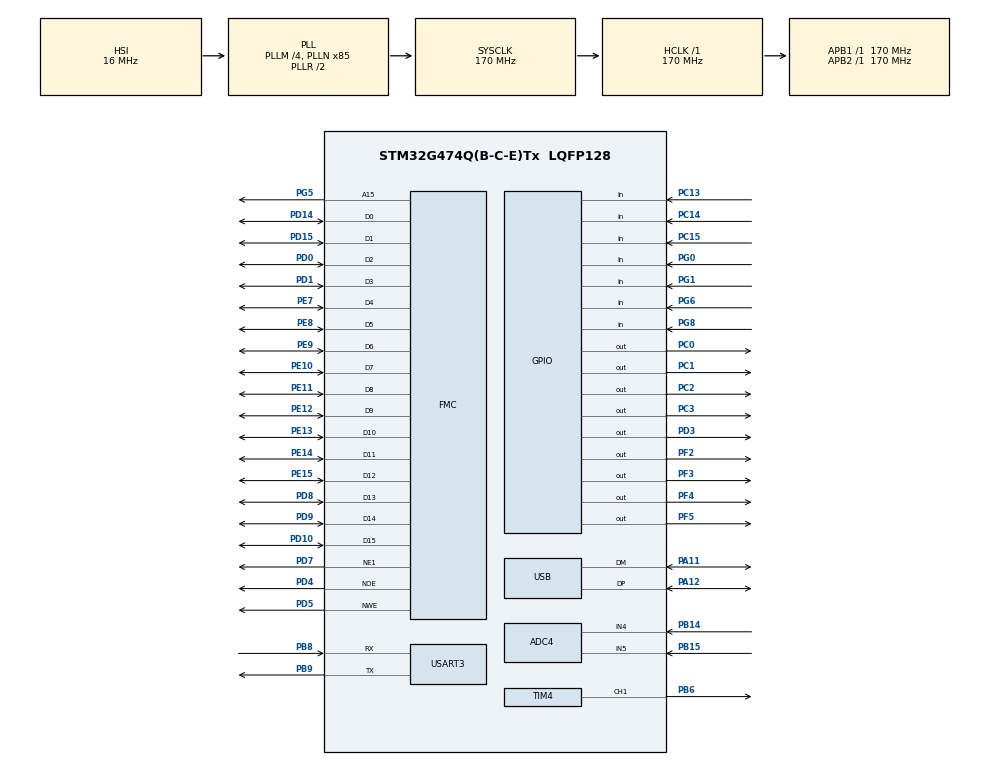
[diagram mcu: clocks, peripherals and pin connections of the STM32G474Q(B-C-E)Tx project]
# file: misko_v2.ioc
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ADC4.Channel-1\#ChannelRegularConversion=ADC_CHANNEL_4
ADC4.Channel-2\#ChannelRegularConversion=ADC_CHANNEL_5
ADC4.DMAContinuousRequests=ENABLE
ADC4.ExternalTrigConv=ADC_EXTERNALTRIG_T1_TRGO
ADC4.NbrOfConversion=2
ADC4.NbrOfConversionFlag=1
ADC4.OffsetNumber-1\#ChannelRegularConversion=ADC_OFFSET_NONE
ADC4.OffsetNumber-2\#ChannelRegularConversion=ADC_OFFSET_NONE
ADC4.Rank-1\#ChannelRegularConversion=1
ADC4.Rank-2\#ChannelRegularConversion=2
ADC4.SamplingTime-1\#ChannelRegularConversion=ADC_SAMPLETIME_640CYCLES_5
ADC4.SamplingTime-2\#ChannelRegularConversion=ADC_SAMPLETIME_640CYCLES_5
Dma.ADC4.0.Direction=DMA_PERIPH_TO_MEMORY
Dma.ADC4.0.EventEnable=DISABLE
Dma.ADC4.0.Instance=DMA1_Channel1
Dma.ADC4.0.MemDataAlignment=DMA_MDATAALIGN_HALFWORD
Dma.ADC4.0.MemInc=DMA_MINC_ENABLE
Dma.ADC4.0.Mode=DMA_CIRCULAR
Dma.ADC4.0.PeriphDataAlignment=DMA_PDATAALIGN_HALFWORD
Dma.ADC4.0.PeriphInc=DMA_PINC_DISABLE
Dma.ADC4.0.Polarity=HAL_DMAMUX_REQ_GEN_RISING
Dma.ADC4.0.Priority=DMA_PRIORITY_LOW
Dma.ADC4.0.RequestNumber=1
Dma.ADC4.0.SignalID=NONE
Dma.ADC4.0.SyncEnable=DISABLE
Dma.ADC4.0.SyncPolarity=HAL_DMAMUX_SYNC_NO_EVENT
Dma.ADC4.0.SyncRequestNumber=1
Dma.ADC4.0.SyncSignalID=NONE
Dma.Request0=ADC4
FMC.AddressSetupTime1=1
FMC.BusTurnAroundDuration1=1
FMC.DataHoldTime1=1
FMC.DataSetupTime1=1
Mcu.Family=STM32G4
Mcu.Name=STM32G474Q(B-C-E)Tx
Mcu.Package=LQFP128
NVIC.DMA1_Channel1_IRQn=true\:0\:0\:false\:false\:true\:false\:true\:true
NVIC.PriorityGroup=NVIC_PRIORITYGROUP_4
NVIC.TIM6_DAC_IRQn=true\:14\:0\:true\:false\:true\:true\:true\:true
NVIC.USART3_IRQn=true\:0\:0\:false\:false\:true\:true\:true\:true
PA11.Mode=Device
PA11.Signal=USB_DM
PA12.Mode=Device
PA12.Signal=USB_DP
PB14.GPIO_PuPd=GPIO_NOPULL
PB14.Signal=SharedAnalog_PB14
PB15.Signal=SharedAnalog_PB15
PB6.Signal=S_TIM4_CH1
PB8-BOOT0.Mode=Asynchronous
PB8-BOOT0.Signal=USART3_RX
PB9.Mode=Asynchronous
PB9.Signal=USART3_TX
PC0.GPIO_PuPd=GPIO_NOPULL
PC0.Signal=GPIO_Output
PC1.Signal=GPIO_Output
PC13.GPIO_PuPd=GPIO_PULLUP
PC13.Signal=GPIO_Input
PC14-OSC32_IN.GPIO_PuPd=GPIO_PULLUP
PC14-OSC32_IN.Signal=GPIO_Input
PC15-OSC32_OUT.GPIO_PuPd=GPIO_PULLUP
PC15-OSC32_OUT.Signal=GPIO_Input
PC2.Signal=GPIO_Output
PC3.Signal=GPIO_Output
PD0.Signal=FMC_D2_DA2
PD1.Signal=FMC_D3_DA3
PD10.Signal=FMC_D15_DA15
PD14.Signal=FMC_D0_DA0
PD15.Signal=FMC_D1_DA1
PD3.Signal=GPIO_Output
PD4.Signal=FMC_NOE
PD5.Signal=FMC_NWE
PD7.Mode=NorPsramChipSelect1_1
PD7.Signal=FMC_NE1
PD8.Signal=FMC_D13_DA13
PD9.Signal=FMC_D14_DA14
PE10.Signal=FMC_D7_DA7
PE11.Signal=FMC_D8_DA8
PE12.Signal=FMC_D9_DA9
PE13.Signal=FMC_D10_DA10
PE14.Signal=FMC_D11_DA11
PE15.Signal=FMC_D12_DA12
PE7.Signal=FMC_D4_DA4
PE8.Signal=FMC_D5_DA5
PE9.Signal=FMC_D6_DA6
PF0-OSC_IN.Mode=HSE-External-Clock-Source
PF0-OSC_IN.Signal=RCC_OSC_IN
PF2.Signal=GPIO_Output
PF3.Signal=GPIO_Output
PF4.Signal=GPIO_Output
PF5.Signal=GPIO_Output
PG0.GPIO_PuPd=GPIO_PULLDOWN
PG0.Signal=GPIO_Input
PG1.GPIO_PuPd=GPIO_PULLUP
PG1.Signal=GPIO_Input
PG5.Signal=FMC_A15
PG6.GPIO_PuPd=GPIO_PULLUP
PG6.Signal=GPIO_Input
PG8.GPIO_PuPd=GPIO_PULLUP
PG8.Signal=GPIO_Input
ProjectManager.HeapSize=0x800
ProjectManager.StackSize=0x800
ProjectManager.TargetToolchain=STM32CubeIDE
RCC.ADC12Freq_Value=170000000
RCC.ADC345Freq_Value=170000000
RCC.AHBFreq_Value=170000000
RCC.APB1Freq_Value=170000000
RCC.APB1TimFreq_Value=170000000
RCC.APB2Freq_Value=170000000
RCC.APB2TimFreq_Value=170000000
RCC.CK48CLockSelection=RCC_USBCLKSOURCE_HSI48
RCC.CortexFreq_Value=170000000
RCC.EXTERNAL_CLOCK_VALUE=12288000
RCC.HCLKFreq_Value=170000000
RCC.HSE_VALUE=8000000
RCC.HSI48_VALUE=48000000
RCC.HSI_VALUE=16000000
RCC.LSE_VALUE=32768
RCC.PLLM=RCC_PLLM_DIV4
RCC.PLLN=85
RCC.PLLP=RCC_PLLP_DIV8
RCC.PLLQ=RCC_PLLQ_DIV8
RCC.SYSCLKFreq_VALUE=170000000
RCC.SYSCLKSource=RCC_SYSCLKSOURCE_PLLCLK
RCC.USBFreq_Value=48000000
RCC.VCOOutputFreq_Value=340000000
SH.FMC_A15.0=FMC_A15,A15_1
SH.FMC_D0_DA0.0=FMC_D0,16b-d1
SH.FMC_D10_DA10.0=FMC_D10,16b-d1
SH.FMC_D11_DA11.0=FMC_D11,16b-d1
SH.FMC_D12_DA12.0=FMC_D12,16b-d1
SH.FMC_D13_DA13.0=FMC_D13,16b-d1
SH.FMC_D14_DA14.0=FMC_D14,16b-d1
SH.FMC_D15_DA15.0=FMC_D15,16b-d1
SH.FMC_D1_DA1.0=FMC_D1,16b-d1
SH.FMC_D2_DA2.0=FMC_D2,16b-d1
SH.FMC_D3_DA3.0=FMC_D3,16b-d1
SH.FMC_D4_DA4.0=FMC_D4,16b-d1
SH.FMC_D5_DA5.0=FMC_D5,16b-d1
SH.FMC_D6_DA6.0=FMC_D6,16b-d1
SH.FMC_D7_DA7.0=FMC_D7,16b-d1
SH.FMC_D8_DA8.0=FMC_D8,16b-d1
SH.FMC_D9_DA9.0=FMC_D9,16b-d1
SH.FMC_NOE.0=FMC_NOE,Lcd1
SH.FMC_NWE.0=FMC_NWE,Lcd1
SH.S_TIM4_CH1.0=TIM4_CH1,PWM Generation1 CH1
SH.SharedAnalog_PB14.0=GPIO_Analog
SH.SharedAnalog_PB14.1=ADC4_IN4,IN4-Single-Ended
SH.SharedAnalog_PB15.0=GPIO_Analog
SH.SharedAnalog_PB15.1=ADC4_IN5,IN5-Single-Ended
STMicroelectronics.X-CUBE-AI.8.0.1.ActivationBufferSizeList=988
STMicroelectronics.X-CUBE-AI.8.0.1.ActivationBuffers=pool0
STMicroelectronics.X-CUBE-AI.8.0.1.ActivationNames=pool0
STMicroelectronics.X-CUBE-AI.8.0.1.ActivationSizes=AI_PYTHON_MODEL_DATA_ACTIVATION_1_SIZE
STMicroelectronics.X-CUBE-AI.8.0.1.HeapSize=0x800
STMicroelectronics.X-CUBE-AI.8.0.1.InternalRamActivationBufferMaxSize=AI_PYTHON_MODEL_DATA_ACTIVATIONS_SIZE
STMicroelectronics.X-CUBE-AI.8.0.1.LatestDirectoryUsed-92c7ae736773bd8f670573e8fd5fc301e7f3e9709f1d78bfd47aae4a3a34602b=D\:\\Dokumenti\\Python\\Connect4_AI\\Connect4_AI
STMicroelectronics.X-CUBE-AI.8.0.1.MaximumNumberOfInputLayer=1
STMicroelectronics.X-CUBE-AI.8.0.1.MaximumNumberOfOutputLayer=1
STMicroelectronics.X-CUBE-AI.8.0.1.MaximumSizeOfInputLayer=1
STMicroelectronics.X-CUBE-AI.8.0.1.MaximumSizeOfOutputLayer=1
STMicroelectronics.X-CUBE-AI.8.0.1.ModelActualCompression-92c7ae736773bd8f670573e8fd5fc301e7f3e9709f1d78bfd47aae4a3a34602b=0.0
STMicroelectronics.X-CUBE-AI.8.0.1.ModelCompression-92c7ae736773bd8f670573e8fd5fc301e7f3e9709f1d78bfd47aae4a3a34602b=None
STMicroelectronics.X-CUBE-AI.8.0.1.ModelFlashOccupation-92c7ae736773bd8f670573e8fd5fc301e7f3e9709f1d78bfd47aae4a3a34602b=133148
STMicroelectronics.X-CUBE-AI.8.0.1.ModelHashList=92c7ae736773bd8f670573e8fd5fc301e7f3e9709f1d78bfd47aae4a3a34602b
STMicroelectronics.X-CUBE-AI.8.0.1.ModelKind-92c7ae736773bd8f670573e8fd5fc301e7f3e9709f1d78bfd47aae4a3a34602b=ONNX
STMicroelectronics.X-CUBE-AI.8.0.1.ModelMacc-92c7ae736773bd8f670573e8fd5fc301e7f3e9709f1d78bfd47aae4a3a34602b=25807
STMicroelectronics.X-CUBE-AI.8.0.1.ModelName-92c7ae736773bd8f670573e8fd5fc301e7f3e9709f1d78bfd47aae4a3a34602b=python_model
STMicroelectronics.X-CUBE-AI.8.0.1.ModelNameList=python_model
STMicroelectronics.X-CUBE-AI.8.0.1.ModelRamOccupation-92c7ae736773bd8f670573e8fd5fc301e7f3e9709f1d78bfd47aae4a3a34602b=988
STMicroelectronics.X-CUBE-AI.8.0.1.ModelStructureFile-92c7ae736773bd8f670573e8fd5fc301e7f3e9709f1d78bfd47aae4a3a34602b=D\:\\Dokumenti\\Python\\Connect4_AI\\Connect4_AI\\ai_model.onnx
STMicroelectronics.X-CUBE-AI.8.0.1.ModelType-92c7ae736773bd8f670573e8fd5fc301e7f3e9709f1d78bfd47aae4a3a34602b=Saved model
STMicroelectronics.X-CUBE-AI.8.0.1.ReadyForCodeGeneration=true
STMicroelectronics.X-CUBE-AI.8.0.1.StackSize=0x800
STMicroelectronics.X-CUBE-AI.8.0.1.WorkingBufferStartAddrList=0xFFFFFFFF
STMicroelectronics.X-CUBE-AI.8.0.1.XAaCUBEAaAICcArtificialOoIntelligenceJjCore=true
STMicroelectronics.X-CUBE-AI.8.0.1.copyWeightToRam=false
STMicroelectronics.X-CUBE-AI.8.0.1.customLayerConfigEnabled=false
STMicroelectronics.X-CUBE-AI.8.0.1.useInputAllocation=true
STMicroelectronics.X-CUBE-AI.8.0.1.useOutputAllocation=true
TIM1.PeriodNoDither=65534
TIM1.Prescaler=20
TIM1.TIM_MasterOutputTrigger=TIM_TRGO_UPDATE
TIM4.Channel-PWM\ Generation1\ CH1=TIM_CHANNEL_1
TIM4.PeriodNoDither=101
TIM4.Prescaler=14399
TIM6.PeriodNoDither=50
TIM6.Prescaler=143
USART3.OverrunDisableParam=ADVFEATURE_OVERRUN_DISABLE
USART3.VirtualMode-Asynchronous=VM_ASYNC
VP_CRC_VS_CRC.Mode=CRC_Activate
VP_STMicroelectronics.X-CUBE-AI_VS_ArtificialOoIntelligenceJjXAaCUBEAaAI_8.0.1.Mode=ArtificialOoIntelligenceJjXAaCUBEAaAI
VP_TIM1_VS_ClockSourceINT.Mode=Internal
VP_TIM4_VS_ClockSourceINT.Mode=Internal
VP_TIM6_VS_ClockSourceINT.Mode=Enable_Timer
board=custom

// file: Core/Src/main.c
/* USER CODE BEGIN Header */
/**
  ******************************************************************************
  * @file           : main.c
  * @brief          : Main program body
  ******************************************************************************
  * @attention
  *
  * Copyright (c) 2023 STMicroelectronics.
  * All rights reserved.
  *
  * This software is licensed under terms that can be found in the LICENSE file
  * in the root directory of this software component.
  * If no LICENSE file comes with this software, it is provided AS-IS.
  *
  ******************************************************************************
  */
/* USER CODE END Header */
#include "game.h"
#include "main.h"

/* USER CODE BEGIN Includes */
#include "LED.h"
#include "kbd.h"
#include "SCI.h"
#include "periodic_services.h"
#include "lcd_backlight.h"
#include "lcd.h"

//my project inlcudes
#include "ai_datatypes_defines.h"
#include "ai_platform.h"
#include "python_model.h"
#include "python_model_data.h"
#include "ai_model.h"
#include "state_machine.h"

/* USER CODE END Includes */

ADC_HandleTypeDef hadc4;
DMA_HandleTypeDef hdma_adc4;

CRC_HandleTypeDef hcrc;

TIM_HandleTypeDef htim1;

PCD_HandleTypeDef hpcd_USB_FS;

SRAM_HandleTypeDef hsram1;

void SystemClock_Config(void);
static void MX_GPIO_Init(void);
static void MX_DMA_Init(void);
static void MX_USB_PCD_Init(void);
static void MX_USART3_UART_Init(void);
static void MX_TIM6_Init(void);
static void MX_TIM4_Init(void);
static void MX_FMC_Init(void);
static void MX_TIM1_Init(void);
static void MX_ADC4_Init(void);
static void MX_CRC_Init(void);

int main(void)
{

  /* MCU Configuration--------------------------------------------------------*/

  /* Reset of all peripherals, Initializes the Flash interface and the Systick. */
  HAL_Init();

  /* Configure the system clock */
  SystemClock_Config();

  /* Initialize all configured peripherals */
  MX_GPIO_Init();
  MX_DMA_Init();
  MX_USB_PCD_Init();
  MX_USART3_UART_Init();
  MX_TIM6_Init();
  MX_TIM4_Init();
  MX_FMC_Init();
  MX_TIM1_Init();
  MX_ADC4_Init();
  MX_CRC_Init();
  /* USER CODE BEGIN 2 */
  LED_init();
  KBD_init();
  SCI_init();
  PSERV_init();
  PSERV_enable();
  LCD_BKLT_init();
  LCD_Init();
  LCD_uGUI_init();
  MX_X_CUBE_AI_Init();

  //JOY_init(&hadc4, &htim1);
  //LED_demo();
  SCI_demo_Hello_world();

  /* USER CODE END 2 */

  /* Infinite loop */
  /* USER CODE BEGIN WHILE */
 // JOY_calibrate();
    while (1)
    {

 Game();

    /* USER CODE END WHILE */

    }
}

void SystemClock_Config(void)
{
  RCC_OscInitTypeDef RCC_OscInitStruct = {0};
  RCC_ClkInitTypeDef RCC_ClkInitStruct = {0};

  /** Configure the main internal regulator output voltage
  */
  HAL_PWREx_ControlVoltageScaling(PWR_REGULATOR_VOLTAGE_SCALE1_BOOST);

  /** Initializes the RCC Oscillators according to the specified parameters
  * in the RCC_OscInitTypeDef structure.
  */
  RCC_OscInitStruct.OscillatorType = RCC_OSCILLATORTYPE_HSI|RCC_OSCILLATORTYPE_HSI48;
  RCC_OscInitStruct.HSIState = RCC_HSI_ON;
  RCC_OscInitStruct.HSICalibrationValue = RCC_HSICALIBRATION_DEFAULT;
  RCC_OscInitStruct.HSI48State = RCC_HSI48_ON;
  RCC_OscInitStruct.PLL.PLLState = RCC_PLL_ON;
  RCC_OscInitStruct.PLL.PLLSource = RCC_PLLSOURCE_HSI;
  RCC_OscInitStruct.PLL.PLLM = RCC_PLLM_DIV4;
  RCC_OscInitStruct.PLL.PLLN = 85;
  RCC_OscInitStruct.PLL.PLLP = RCC_PLLP_DIV8;
  RCC_OscInitStruct.PLL.PLLQ = RCC_PLLQ_DIV8;
  RCC_OscInitStruct.PLL.PLLR = RCC_PLLR_DIV2;
  if (HAL_RCC_OscConfig(&RCC_OscInitStruct) != HAL_OK)
  {
    Error_Handler();
  }

  /** Initializes the CPU, AHB and APB buses clocks
  */
  RCC_ClkInitStruct.ClockType = RCC_CLOCKTYPE_HCLK|RCC_CLOCKTYPE_SYSCLK
                              |RCC_CLOCKTYPE_PCLK1|RCC_CLOCKTYPE_PCLK2;
  RCC_ClkInitStruct.SYSCLKSource = RCC_SYSCLKSOURCE_PLLCLK;
  RCC_ClkInitStruct.AHBCLKDivider = RCC_SYSCLK_DIV1;
  RCC_ClkInitStruct.APB1CLKDivider = RCC_HCLK_DIV1;
  RCC_ClkInitStruct.APB2CLKDivider = RCC_HCLK_DIV1;

  if (HAL_RCC_ClockConfig(&RCC_ClkInitStruct, FLASH_LATENCY_4) != HAL_OK)
  {
    Error_Handler();
  }
}

static void MX_ADC4_Init(void)
{

  ADC_ChannelConfTypeDef sConfig = {0};

  /** Common config
  */
  hadc4.Instance = ADC4;
  hadc4.Init.ClockPrescaler = ADC_CLOCK_SYNC_PCLK_DIV4;
  hadc4.Init.Resolution = ADC_RESOLUTION_12B;
  hadc4.Init.DataAlign = ADC_DATAALIGN_RIGHT;
  hadc4.Init.GainCompensation = 0;
  hadc4.Init.ScanConvMode = ADC_SCAN_ENABLE;
  hadc4.Init.EOCSelection = ADC_EOC_SINGLE_CONV;
  hadc4.Init.LowPowerAutoWait = DISABLE;
  hadc4.Init.ContinuousConvMode = DISABLE;
  hadc4.Init.NbrOfConversion = 2;
  hadc4.Init.DiscontinuousConvMode = DISABLE;
  hadc4.Init.ExternalTrigConv = ADC_EXTERNALTRIG_T1_TRGO;
  hadc4.Init.ExternalTrigConvEdge = ADC_EXTERNALTRIGCONVEDGE_RISING;
  hadc4.Init.DMAContinuousRequests = ENABLE;
  hadc4.Init.Overrun = ADC_OVR_DATA_PRESERVED;
  hadc4.Init.OversamplingMode = DISABLE;
  if (HAL_ADC_Init(&hadc4) != HAL_OK)
  {
    Error_Handler();
  }

  /** Configure Regular Channel
  */
  sConfig.Channel = ADC_CHANNEL_4;
  sConfig.Rank = ADC_REGULAR_RANK_1;
  sConfig.SamplingTime = ADC_SAMPLETIME_640CYCLES_5;
  sConfig.SingleDiff = ADC_SINGLE_ENDED;
  sConfig.OffsetNumber = ADC_OFFSET_NONE;
  sConfig.Offset = 0;
  if (HAL_ADC_ConfigChannel(&hadc4, &sConfig) != HAL_OK)
  {
    Error_Handler();
  }

  /** Configure Regular Channel
  */
  sConfig.Channel = ADC_CHANNEL_5;
  sConfig.Rank = ADC_REGULAR_RANK_2;
  if (HAL_ADC_ConfigChannel(&hadc4, &sConfig) != HAL_OK)
  {
    Error_Handler();
  }

}

static void MX_CRC_Init(void)
{

  hcrc.Instance = CRC;
  hcrc.Init.DefaultPolynomialUse = DEFAULT_POLYNOMIAL_ENABLE;
  hcrc.Init.DefaultInitValueUse = DEFAULT_INIT_VALUE_ENABLE;
  hcrc.Init.InputDataInversionMode = CRC_INPUTDATA_INVERSION_NONE;
  hcrc.Init.OutputDataInversionMode = CRC_OUTPUTDATA_INVERSION_DISABLE;
  hcrc.InputDataFormat = CRC_INPUTDATA_FORMAT_BYTES;
  if (HAL_CRC_Init(&hcrc) != HAL_OK)
  {
    Error_Handler();
  }

}

static void MX_TIM1_Init(void)
{

  TIM_ClockConfigTypeDef sClockSourceConfig = {0};
  TIM_MasterConfigTypeDef sMasterConfig = {0};

  htim1.Instance = TIM1;
  htim1.Init.Prescaler = 20;
  htim1.Init.CounterMode = TIM_COUNTERMODE_UP;
  htim1.Init.Period = 65534;
  htim1.Init.ClockDivision = TIM_CLOCKDIVISION_DIV1;
  htim1.Init.RepetitionCounter = 0;
  htim1.Init.AutoReloadPreload = TIM_AUTORELOAD_PRELOAD_DISABLE;
  if (HAL_TIM_Base_Init(&htim1) != HAL_OK)
  {
    Error_Handler();
  }
  sClockSourceConfig.ClockSource = TIM_CLOCKSOURCE_INTERNAL;
  if (HAL_TIM_ConfigClockSource(&htim1, &sClockSourceConfig) != HAL_OK)
  {
    Error_Handler();
  }
  sMasterConfig.MasterOutputTrigger = TIM_TRGO_UPDATE;
  sMasterConfig.MasterOutputTrigger2 = TIM_TRGO2_RESET;
  sMasterConfig.MasterSlaveMode = TIM_MASTERSLAVEMODE_DISABLE;
  if (HAL_TIMEx_MasterConfigSynchronization(&htim1, &sMasterConfig) != HAL_OK)
  {
    Error_Handler();
  }

}

static void MX_TIM4_Init(void)
{

  LL_TIM_InitTypeDef TIM_InitStruct = {0};
  LL_TIM_OC_InitTypeDef TIM_OC_InitStruct = {0};

  LL_GPIO_InitTypeDef GPIO_InitStruct = {0};

  /* Peripheral clock enable */
  LL_APB1_GRP1_EnableClock(LL_APB1_GRP1_PERIPH_TIM4);

  TIM_InitStruct.Prescaler = 14399;
  TIM_InitStruct.CounterMode = LL_TIM_COUNTERMODE_UP;
  TIM_InitStruct.Autoreload = 101;
  TIM_InitStruct.ClockDivision = LL_TIM_CLOCKDIVISION_DIV1;
  LL_TIM_Init(TIM4, &TIM_InitStruct);
  LL_TIM_DisableARRPreload(TIM4);
  LL_TIM_SetClockSource(TIM4, LL_TIM_CLOCKSOURCE_INTERNAL);
  LL_TIM_OC_EnablePreload(TIM4, LL_TIM_CHANNEL_CH1);
  TIM_OC_InitStruct.OCMode = LL_TIM_OCMODE_PWM1;
  TIM_OC_InitStruct.OCState = LL_TIM_OCSTATE_DISABLE;
  TIM_OC_InitStruct.OCNState = LL_TIM_OCSTATE_DISABLE;
  TIM_OC_InitStruct.CompareValue = 0;
  TIM_OC_InitStruct.OCPolarity = LL_TIM_OCPOLARITY_HIGH;
  LL_TIM_OC_Init(TIM4, LL_TIM_CHANNEL_CH1, &TIM_OC_InitStruct);
  LL_TIM_OC_DisableFast(TIM4, LL_TIM_CHANNEL_CH1);
  LL_TIM_SetTriggerOutput(TIM4, LL_TIM_TRGO_RESET);
  LL_TIM_DisableMasterSlaveMode(TIM4);
  LL_AHB2_GRP1_EnableClock(LL_AHB2_GRP1_PERIPH_GPIOB);
  /**TIM4 GPIO Configuration
  PB6   ------> TIM4_CH1
  */
  GPIO_InitStruct.Pin = LL_GPIO_PIN_6;
  GPIO_InitStruct.Mode = LL_GPIO_MODE_ALTERNATE;
  GPIO_InitStruct.Speed = LL_GPIO_SPEED_FREQ_LOW;
  GPIO_InitStruct.OutputType = LL_GPIO_OUTPUT_PUSHPULL;
  GPIO_InitStruct.Pull = LL_GPIO_PULL_NO;
  GPIO_InitStruct.Alternate = LL_GPIO_AF_2;
  LL_GPIO_Init(GPIOB, &GPIO_InitStruct);

}

static void MX_TIM6_Init(void)
{

  LL_TIM_InitTypeDef TIM_InitStruct = {0};

  /* Peripheral clock enable */
  LL_APB1_GRP1_EnableClock(LL_APB1_GRP1_PERIPH_TIM6);

  /* TIM6 interrupt Init */
  NVIC_SetPriority(TIM6_DAC_IRQn, NVIC_EncodePriority(NVIC_GetPriorityGrouping(),14, 0));
  NVIC_EnableIRQ(TIM6_DAC_IRQn);

  TIM_InitStruct.Prescaler = 143;
  TIM_InitStruct.CounterMode = LL_TIM_COUNTERMODE_UP;
  TIM_InitStruct.Autoreload = 50;
  LL_TIM_Init(TIM6, &TIM_InitStruct);
  LL_TIM_DisableARRPreload(TIM6);
  LL_TIM_SetTriggerOutput(TIM6, LL_TIM_TRGO_RESET);
  LL_TIM_DisableMasterSlaveMode(TIM6);

}

static void MX_USART3_UART_Init(void)
{

  LL_USART_InitTypeDef USART_InitStruct = {0};

  LL_GPIO_InitTypeDef GPIO_InitStruct = {0};
  RCC_PeriphCLKInitTypeDef PeriphClkInit = {0};

  /** Initializes the peripherals clocks
  */
  PeriphClkInit.PeriphClockSelection = RCC_PERIPHCLK_USART3;
  PeriphClkInit.Usart3ClockSelection = RCC_USART3CLKSOURCE_PCLK1;
  if (HAL_RCCEx_PeriphCLKConfig(&PeriphClkInit) != HAL_OK)
  {
    Error_Handler();
  }

  /* Peripheral clock enable */
  LL_APB1_GRP1_EnableClock(LL_APB1_GRP1_PERIPH_USART3);

  LL_AHB2_GRP1_EnableClock(LL_AHB2_GRP1_PERIPH_GPIOB);
  /**USART3 GPIO Configuration
  PB8-BOOT0   ------> USART3_RX
  PB9   ------> USART3_TX
  */
  GPIO_InitStruct.Pin = LL_GPIO_PIN_8;
  GPIO_InitStruct.Mode = LL_GPIO_MODE_ALTERNATE;
  GPIO_InitStruct.Speed = LL_GPIO_SPEED_FREQ_LOW;
  GPIO_InitStruct.OutputType = LL_GPIO_OUTPUT_PUSHPULL;
  GPIO_InitStruct.Pull = LL_GPIO_PULL_NO;
  GPIO_InitStruct.Alternate = LL_GPIO_AF_7;
  LL_GPIO_Init(GPIOB, &GPIO_InitStruct);

  GPIO_InitStruct.Pin = LL_GPIO_PIN_9;
  GPIO_InitStruct.Mode = LL_GPIO_MODE_ALTERNATE;
  GPIO_InitStruct.Speed = LL_GPIO_SPEED_FREQ_LOW;
  GPIO_InitStruct.OutputType = LL_GPIO_OUTPUT_PUSHPULL;
  GPIO_InitStruct.Pull = LL_GPIO_PULL_NO;
  GPIO_InitStruct.Alternate = LL_GPIO_AF_7;
  LL_GPIO_Init(GPIOB, &GPIO_InitStruct);

  /* USART3 interrupt Init */
  NVIC_SetPriority(USART3_IRQn, NVIC_EncodePriority(NVIC_GetPriorityGrouping(),0, 0));
  NVIC_EnableIRQ(USART3_IRQn);

  USART_InitStruct.PrescalerValue = LL_USART_PRESCALER_DIV1;
  USART_InitStruct.BaudRate = 115200;
  USART_InitStruct.DataWidth = LL_USART_DATAWIDTH_8B;
  USART_InitStruct.StopBits = LL_USART_STOPBITS_1;
  USART_InitStruct.Parity = LL_USART_PARITY_NONE;
  USART_InitStruct.TransferDirection = LL_USART_DIRECTION_TX_RX;
  USART_InitStruct.HardwareFlowControl = LL_USART_HWCONTROL_NONE;
  USART_InitStruct.OverSampling = LL_USART_OVERSAMPLING_16;
  LL_USART_Init(USART3, &USART_InitStruct);
  LL_USART_SetTXFIFOThreshold(USART3, LL_USART_FIFOTHRESHOLD_1_8);
  LL_USART_SetRXFIFOThreshold(USART3, LL_USART_FIFOTHRESHOLD_1_8);
  LL_USART_DisableFIFO(USART3);
  LL_USART_DisableOverrunDetect(USART3);
  LL_USART_ConfigAsyncMode(USART3);

  LL_USART_Enable(USART3);

  /* Polling USART3 initialisation */
  while((!(LL_USART_IsActiveFlag_TEACK(USART3))) || (!(LL_USART_IsActiveFlag_REACK(USART3))))
  {
  }

}

static void MX_USB_PCD_Init(void)
{

  hpcd_USB_FS.Instance = USB;
  hpcd_USB_FS.Init.dev_endpoints = 8;
  hpcd_USB_FS.Init.speed = PCD_SPEED_FULL;
  hpcd_USB_FS.Init.phy_itface = PCD_PHY_EMBEDDED;
  hpcd_USB_FS.Init.Sof_enable = DISABLE;
  hpcd_USB_FS.Init.low_power_enable = DISABLE;
  hpcd_USB_FS.Init.lpm_enable = DISABLE;
  hpcd_USB_FS.Init.battery_charging_enable = DISABLE;
  if (HAL_PCD_Init(&hpcd_USB_FS) != HAL_OK)
  {
    Error_Handler();
  }

}

static void MX_DMA_Init(void)
{

  /* DMA controller clock enable */
  __HAL_RCC_DMAMUX1_CLK_ENABLE();
  __HAL_RCC_DMA1_CLK_ENABLE();

  /* DMA interrupt init */
  /* DMA1_Channel1_IRQn interrupt configuration */
  HAL_NVIC_SetPriority(DMA1_Channel1_IRQn, 0, 0);
  HAL_NVIC_EnableIRQ(DMA1_Channel1_IRQn);

}

/* FMC initialization function */
static void MX_FMC_Init(void)
{

  FMC_NORSRAM_TimingTypeDef Timing = {0};

  /** Perform the SRAM1 memory initialization sequence
  */
  hsram1.Instance = FMC_NORSRAM_DEVICE;
  hsram1.Extended = FMC_NORSRAM_EXTENDED_DEVICE;
  /* hsram1.Init */
  hsram1.Init.NSBank = FMC_NORSRAM_BANK1;
  hsram1.Init.DataAddressMux = FMC_DATA_ADDRESS_MUX_DISABLE;
  hsram1.Init.MemoryType = FMC_MEMORY_TYPE_SRAM;
  hsram1.Init.MemoryDataWidth = FMC_NORSRAM_MEM_BUS_WIDTH_16;
  hsram1.Init.BurstAccessMode = FMC_BURST_ACCESS_MODE_DISABLE;
  hsram1.Init.WaitSignalPolarity = FMC_WAIT_SIGNAL_POLARITY_LOW;
  hsram1.Init.WaitSignalActive = FMC_WAIT_TIMING_BEFORE_WS;
  hsram1.Init.WriteOperation = FMC_WRITE_OPERATION_ENABLE;
  hsram1.Init.WaitSignal = FMC_WAIT_SIGNAL_DISABLE;
  hsram1.Init.ExtendedMode = FMC_EXTENDED_MODE_DISABLE;
  hsram1.Init.AsynchronousWait = FMC_ASYNCHRONOUS_WAIT_DISABLE;
  hsram1.Init.WriteBurst = FMC_WRITE_BURST_DISABLE;
  hsram1.Init.ContinuousClock = FMC_CONTINUOUS_CLOCK_SYNC_ONLY;
  hsram1.Init.WriteFifo = FMC_WRITE_FIFO_ENABLE;
  hsram1.Init.NBLSetupTime = 0;
  hsram1.Init.PageSize = FMC_PAGE_SIZE_NONE;
  hsram1.Init.MaxChipSelectPulse = DISABLE;
  /* Timing */
  Timing.AddressSetupTime = 1;
  Timing.AddressHoldTime = 15;
  Timing.DataSetupTime = 1;
  Timing.DataHoldTime = 1;
  Timing.BusTurnAroundDuration = 1;
  Timing.CLKDivision = 16;
  Timing.DataLatency = 17;
  Timing.AccessMode = FMC_ACCESS_MODE_A;
  /* ExtTiming */

  if (HAL_SRAM_Init(&hsram1, &Timing, NULL) != HAL_OK)
  {
    Error_Handler( );
  }

}

static void MX_GPIO_Init(void)
{
  LL_GPIO_InitTypeDef GPIO_InitStruct = {0};

  /* GPIO Ports Clock Enable */
  LL_AHB2_GRP1_EnableClock(LL_AHB2_GRP1_PERIPH_GPIOC);
  LL_AHB2_GRP1_EnableClock(LL_AHB2_GRP1_PERIPH_GPIOF);
  LL_AHB2_GRP1_EnableClock(LL_AHB2_GRP1_PERIPH_GPIOE);
  LL_AHB2_GRP1_EnableClock(LL_AHB2_GRP1_PERIPH_GPIOB);
  LL_AHB2_GRP1_EnableClock(LL_AHB2_GRP1_PERIPH_GPIOD);
  LL_AHB2_GRP1_EnableClock(LL_AHB2_GRP1_PERIPH_GPIOG);
  LL_AHB2_GRP1_EnableClock(LL_AHB2_GRP1_PERIPH_GPIOA);

  /**/
  LL_GPIO_ResetOutputPin(GPIOF, LL_GPIO_PIN_3);

  /**/
  LL_GPIO_ResetOutputPin(GPIOF, LL_GPIO_PIN_4);

  /**/
  LL_GPIO_ResetOutputPin(GPIOF, LL_GPIO_PIN_5);

  /**/
  LL_GPIO_ResetOutputPin(GPIOC, LL_GPIO_PIN_0);

  /**/
  LL_GPIO_ResetOutputPin(GPIOC, LL_GPIO_PIN_1);

  /**/
  LL_GPIO_ResetOutputPin(GPIOC, LL_GPIO_PIN_2);

  /**/
  LL_GPIO_ResetOutputPin(GPIOC, LL_GPIO_PIN_3);

  /**/
  LL_GPIO_ResetOutputPin(GPIOF, LL_GPIO_PIN_2);

  /**/
  LL_GPIO_ResetOutputPin(GPIOD, LL_GPIO_PIN_3);

  /**/
  GPIO_InitStruct.Pin = LL_GPIO_PIN_13;
  GPIO_InitStruct.Mode = LL_GPIO_MODE_INPUT;
  GPIO_InitStruct.Pull = LL_GPIO_PULL_UP;
  LL_GPIO_Init(GPIOC, &GPIO_InitStruct);

  /**/
  GPIO_InitStruct.Pin = LL_GPIO_PIN_14;
  GPIO_InitStruct.Mode = LL_GPIO_MODE_INPUT;
  GPIO_InitStruct.Pull = LL_GPIO_PULL_UP;
  LL_GPIO_Init(GPIOC, &GPIO_InitStruct);

  /**/
  GPIO_InitStruct.Pin = LL_GPIO_PIN_15;
  GPIO_InitStruct.Mode = LL_GPIO_MODE_INPUT;
  GPIO_InitStruct.Pull = LL_GPIO_PULL_UP;
  LL_GPIO_Init(GPIOC, &GPIO_InitStruct);

  /**/
  GPIO_InitStruct.Pin = LL_GPIO_PIN_3;
  GPIO_InitStruct.Mode = LL_GPIO_MODE_OUTPUT;
  GPIO_InitStruct.Speed = LL_GPIO_SPEED_FREQ_LOW;
  GPIO_InitStruct.OutputType = LL_GPIO_OUTPUT_PUSHPULL;
  GPIO_InitStruct.Pull = LL_GPIO_PULL_NO;
  LL_GPIO_Init(GPIOF, &GPIO_InitStruct);

  /**/
  GPIO_InitStruct.Pin = LL_GPIO_PIN_4;
  GPIO_InitStruct.Mode = LL_GPIO_MODE_OUTPUT;
  GPIO_InitStruct.Speed = LL_GPIO_SPEED_FREQ_LOW;
  GPIO_InitStruct.OutputType = LL_GPIO_OUTPUT_PUSHPULL;
  GPIO_InitStruct.Pull = LL_GPIO_PULL_NO;
  LL_GPIO_Init(GPIOF, &GPIO_InitStruct);

  /**/
  GPIO_InitStruct.Pin = LL_GPIO_PIN_5;
  GPIO_InitStruct.Mode = LL_GPIO_MODE_OUTPUT;
  GPIO_InitStruct.Speed = LL_GPIO_SPEED_FREQ_LOW;
  GPIO_InitStruct.OutputType = LL_GPIO_OUTPUT_PUSHPULL;
  GPIO_InitStruct.Pull = LL_GPIO_PULL_NO;
  LL_GPIO_Init(GPIOF, &GPIO_InitStruct);

  /**/
  GPIO_InitStruct.Pin = LL_GPIO_PIN_0;
  GPIO_InitStruct.Mode = LL_GPIO_MODE_OUTPUT;
  GPIO_InitStruct.Speed = LL_GPIO_SPEED_FREQ_LOW;
  GPIO_InitStruct.OutputType = LL_GPIO_OUTPUT_PUSHPULL;
  GPIO_InitStruct.Pull = LL_GPIO_PULL_NO;
  LL_GPIO_Init(GPIOC, &GPIO_InitStruct);

  /**/
  GPIO_InitStruct.Pin = LL_GPIO_PIN_1;
  GPIO_InitStruct.Mode = LL_GPIO_MODE_OUTPUT;
  GPIO_InitStruct.Speed = LL_GPIO_SPEED_FREQ_LOW;
  GPIO_InitStruct.OutputType = LL_GPIO_OUTPUT_PUSHPULL;
  GPIO_InitStruct.Pull = LL_GPIO_PULL_NO;
  LL_GPIO_Init(GPIOC, &GPIO_InitStruct);

  /**/
  GPIO_InitStruct.Pin = LL_GPIO_PIN_2;
  GPIO_InitStruct.Mode = LL_GPIO_MODE_OUTPUT;
  GPIO_InitStruct.Speed = LL_GPIO_SPEED_FREQ_LOW;
  GPIO_InitStruct.OutputType = LL_GPIO_OUTPUT_PUSHPULL;
  GPIO_InitStruct.Pull = LL_GPIO_PULL_NO;
  LL_GPIO_Init(GPIOC, &GPIO_InitStruct);

  /**/
  GPIO_InitStruct.Pin = LL_GPIO_PIN_3;
  GPIO_InitStruct.Mode = LL_GPIO_MODE_OUTPUT;
  GPIO_InitStruct.Speed = LL_GPIO_SPEED_FREQ_LOW;
  GPIO_InitStruct.OutputType = LL_GPIO_OUTPUT_PUSHPULL;
  GPIO_InitStruct.Pull = LL_GPIO_PULL_NO;
  LL_GPIO_Init(GPIOC, &GPIO_InitStruct);

  /**/
  GPIO_InitStruct.Pin = LL_GPIO_PIN_2;
  GPIO_InitStruct.Mode = LL_GPIO_MODE_OUTPUT;
  GPIO_InitStruct.Speed = LL_GPIO_SPEED_FREQ_LOW;
  GPIO_InitStruct.OutputType = LL_GPIO_OUTPUT_PUSHPULL;
  GPIO_InitStruct.Pull = LL_GPIO_PULL_NO;
  LL_GPIO_Init(GPIOF, &GPIO_InitStruct);

  /**/
  GPIO_InitStruct.Pin = LL_GPIO_PIN_0;
  GPIO_InitStruct.Mode = LL_GPIO_MODE_INPUT;
  GPIO_InitStruct.Pull = LL_GPIO_PULL_DOWN;
  LL_GPIO_Init(GPIOG, &GPIO_InitStruct);

  /**/
  GPIO_InitStruct.Pin = LL_GPIO_PIN_1;
  GPIO_InitStruct.Mode = LL_GPIO_MODE_INPUT;
  GPIO_InitStruct.Pull = LL_GPIO_PULL_UP;
  LL_GPIO_Init(GPIOG, &GPIO_InitStruct);

  /**/
  GPIO_InitStruct.Pin = LL_GPIO_PIN_6;
  GPIO_InitStruct.Mode = LL_GPIO_MODE_INPUT;
  GPIO_InitStruct.Pull = LL_GPIO_PULL_UP;
  LL_GPIO_Init(GPIOG, &GPIO_InitStruct);

  /**/
  GPIO_InitStruct.Pin = LL_GPIO_PIN_8;
  GPIO_InitStruct.Mode = LL_GPIO_MODE_INPUT;
  GPIO_InitStruct.Pull = LL_GPIO_PULL_UP;
  LL_GPIO_Init(GPIOG, &GPIO_InitStruct);

  /**/
  GPIO_InitStruct.Pin = LL_GPIO_PIN_3;
  GPIO_InitStruct.Mode = LL_GPIO_MODE_OUTPUT;
  GPIO_InitStruct.Speed = LL_GPIO_SPEED_FREQ_LOW;
  GPIO_InitStruct.OutputType = LL_GPIO_OUTPUT_PUSHPULL;
  GPIO_InitStruct.Pull = LL_GPIO_PULL_NO;
  LL_GPIO_Init(GPIOD, &GPIO_InitStruct);

}

void Error_Handler(void)
{
  __disable_irq();
  while (1)
  {
  }
}
